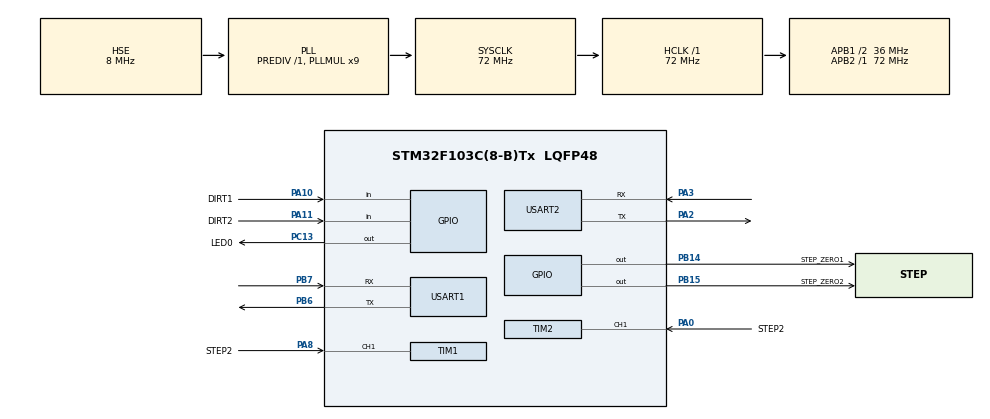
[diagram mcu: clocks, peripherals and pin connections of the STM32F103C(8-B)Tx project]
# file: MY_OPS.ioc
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FREERTOS.Tasks01=defaultTask,24,128,StartDefaultTask,Default,NULL,Dynamic,NULL,NULL
FREERTOS.configENABLE_FPU=1
Mcu.Family=STM32F1
Mcu.Name=STM32F103C(8-B)Tx
Mcu.Package=LQFP48
NVIC.PriorityGroup=NVIC_PRIORITYGROUP_4
NVIC.TIM4_IRQn=true\:15\:0\:false\:false\:true\:false\:false\:true\:true
NVIC.TimeBase=TIM4_IRQn
NVIC.TimeBaseIP=TIM4
PA0-WKUP.GPIO_Label=STEP2
PA0-WKUP.Signal=S_TIM2_CH1_ETR
PA10.GPIO_Label=DIRT1
PA10.Signal=GPIO_Input
PA11.GPIO_Label=DIRT2
PA11.Signal=GPIO_Input
PA13.Mode=Serial_Wire
PA13.Signal=SYS_JTMS-SWDIO
PA14.Mode=Serial_Wire
PA14.Signal=SYS_JTCK-SWCLK
PA2.Mode=Asynchronous
PA2.Signal=USART2_TX
PA3.Mode=Asynchronous
PA3.Signal=USART2_RX
PA8.GPIO_Label=STEP2
PA8.Signal=S_TIM1_CH1
PB14.GPIO_Label=STEP_ZERO1
PB14.Signal=GPIO_Output
PB15.GPIO_Label=STEP_ZERO2
PB15.Signal=GPIO_Output
PB6.Mode=Asynchronous
PB6.Signal=USART1_TX
PB7.Mode=Asynchronous
PB7.Signal=USART1_RX
PC13-TAMPER-RTC.GPIO_Label=LED0
PC13-TAMPER-RTC.Signal=GPIO_Output
PD0-OSC_IN.Mode=HSE-External-Oscillator
PD0-OSC_IN.Signal=RCC_OSC_IN
PD1-OSC_OUT.Mode=HSE-External-Oscillator
PD1-OSC_OUT.Signal=RCC_OSC_OUT
ProjectManager.HeapSize=0x200
ProjectManager.StackSize=0x400
ProjectManager.TargetToolchain=MDK-ARM V5.32
RCC.AHBFreq_Value=72000000
RCC.APB1CLKDivider=RCC_HCLK_DIV2
RCC.APB1Freq_Value=36000000
RCC.APB1TimFreq_Value=72000000
RCC.APB2Freq_Value=72000000
RCC.APB2TimFreq_Value=72000000
RCC.HCLKFreq_Value=72000000
RCC.PLLMUL=RCC_PLL_MUL9
RCC.PLLSourceVirtual=RCC_PLLSOURCE_HSE
RCC.SYSCLKFreq_VALUE=72000000
RCC.SYSCLKSource=RCC_SYSCLKSOURCE_PLLCLK
RCC.USBFreq_Value=72000000
SH.S_TIM1_CH1.0=TIM1_CH1,TriggerSource_TI1FP1
SH.S_TIM2_CH1_ETR.0=TIM2_CH1,TriggerSource_TI1FP1
USART1.VirtualMode=VM_ASYNC
USART2.VirtualMode=VM_ASYNC
VP_FREERTOS_VS_CMSIS_V2.Mode=CMSIS_V2
VP_SYS_VS_tim4.Mode=TIM4
VP_TIM1_VS_ControllerModeClock.Mode=Clock Mode
VP_TIM2_VS_ControllerModeClock.Mode=Clock Mode
board=custom

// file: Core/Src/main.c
/* USER CODE BEGIN Header */
/**
  ******************************************************************************
  * @file           : main.c
  * @brief          : Main program body
  ******************************************************************************
  * @attention
  *
  * Copyright (c) 2026 STMicroelectronics.
  * All rights reserved.
  *
  * This software is licensed under terms that can be found in the LICENSE file
  * in the root directory of this software component.
  * If no LICENSE file comes with this software, it is provided AS-IS.
  *
  ******************************************************************************
  */
/* USER CODE END Header */
#include "main.h"
#include "cmsis_os.h"
#include "tim.h"
#include "usart.h"
#include "gpio.h"

/* USER CODE BEGIN Includes */
#include "ops.h"
/* USER CODE END Includes */

void SystemClock_Config(void);
void MX_FREERTOS_Init(void);

int main(void)
{

  /* MCU Configuration--------------------------------------------------------*/

  /* Reset of all peripherals, Initializes the Flash interface and the Systick. */
  HAL_Init();

  /* Configure the system clock */
  SystemClock_Config();

  /* Initialize all configured peripherals */
  MX_GPIO_Init();
  MX_TIM1_Init();
  MX_TIM2_Init();
  MX_USART1_UART_Init();
  MX_USART2_UART_Init();
  /* USER CODE BEGIN 2 */
  /* 全局位姿模块初始化：
   *  1) 给 TIM1/TIM2 补上外部时钟模式 1 必需的 CC1S=01 输入通道并启动计数
   *  2) 启动 USART1(CY-Z)/USART2(底盘) 逐字节中断接收、配置 NVIC、使能 DWT
   *  3) 载入 Flash 参数 → 初始化各逻辑层 → 建立编码器基准 */
  Ops_Init();
  /* USER CODE END 2 */

  /* Init scheduler */
  osKernelInitialize();  /* Call init function for freertos objects (in cmsis_os2.c) */
  MX_FREERTOS_Init();

  /* Start scheduler */
  osKernelStart();

  /* We should never get here as control is now taken by the scheduler */

  /* Infinite loop */
  while (1)
  {

  }
}

void SystemClock_Config(void)
{
  RCC_OscInitTypeDef RCC_OscInitStruct = {0};
  RCC_ClkInitTypeDef RCC_ClkInitStruct = {0};

  /** Initializes the RCC Oscillators according to the specified parameters
  * in the RCC_OscInitTypeDef structure.
  */
  RCC_OscInitStruct.OscillatorType = RCC_OSCILLATORTYPE_HSE;
  RCC_OscInitStruct.HSEState = RCC_HSE_ON;
  RCC_OscInitStruct.HSEPredivValue = RCC_HSE_PREDIV_DIV1;
  RCC_OscInitStruct.HSIState = RCC_HSI_ON;
  RCC_OscInitStruct.PLL.PLLState = RCC_PLL_ON;
  RCC_OscInitStruct.PLL.PLLSource = RCC_PLLSOURCE_HSE;
  RCC_OscInitStruct.PLL.PLLMUL = RCC_PLL_MUL9;
  if (HAL_RCC_OscConfig(&RCC_OscInitStruct) != HAL_OK)
  {
    Error_Handler();
  }

  /** Initializes the CPU, AHB and APB buses clocks
  */
  RCC_ClkInitStruct.ClockType = RCC_CLOCKTYPE_HCLK|RCC_CLOCKTYPE_SYSCLK
                              |RCC_CLOCKTYPE_PCLK1|RCC_CLOCKTYPE_PCLK2;
  RCC_ClkInitStruct.SYSCLKSource = RCC_SYSCLKSOURCE_PLLCLK;
  RCC_ClkInitStruct.AHBCLKDivider = RCC_SYSCLK_DIV1;
  RCC_ClkInitStruct.APB1CLKDivider = RCC_HCLK_DIV2;
  RCC_ClkInitStruct.APB2CLKDivider = RCC_HCLK_DIV1;

  if (HAL_RCC_ClockConfig(&RCC_ClkInitStruct, FLASH_LATENCY_2) != HAL_OK)
  {
    Error_Handler();
  }
}

/* USER CODE BEGIN 4 */
/**
  * @brief  串口接收完成回调：USART1 = CY-Z 陀螺仪，USART2 = 底盘 MCU
  * @note   两路均为逐字节中断接收；发送与接收互不干扰，
  *         且本 HAL 版本的 HAL_UART_Transmit 不使用 __HAL_LOCK，
  *         因此发送过程中在接收中断里重新挂接接收不会失败。
  */
void HAL_UART_RxCpltCallback(UART_HandleTypeDef *huart)
{
  if (huart->Instance == USART1)
  {
    Ops_Hw_Uart1RxCpltFromIsr();
  }
  else if (huart->Instance == USART2)
  {
    Ops_Hw_Uart2RxCpltFromIsr();
  }
  else
  {
    /* 其他串口未使用 */
  }
}

/**
  * @brief  串口错误回调
  * @note   最常见的是过载错误 ORE；必须重新挂接接收，否则该路接收永久停止。
  */
void HAL_UART_ErrorCallback(UART_HandleTypeDef *huart)
{
  if (huart->Instance == USART1)
  {
    Ops_Hw_UartErrorFromIsr(0u);
  }
  else if (huart->Instance == USART2)
  {
    Ops_Hw_UartErrorFromIsr(1u);
  }
  else
  {
    /* 其他串口未使用 */
  }
}
/* USER CODE END 4 */

void HAL_TIM_PeriodElapsedCallback(TIM_HandleTypeDef *htim)
{
  if (htim->Instance == TIM4)
  {
    HAL_IncTick();
  }
}

void Error_Handler(void)
{
  __disable_irq();
  while (1)
  {
  }
}

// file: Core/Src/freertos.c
/* USER CODE BEGIN Header */
/**
  ******************************************************************************
  * File Name          : freertos.c
  * Description        : Code for freertos applications
  ******************************************************************************
  * @attention
  *
  * Copyright (c) 2026 STMicroelectronics.
  * All rights reserved.
  *
  * This software is licensed under terms that can be found in the LICENSE file
  * in the root directory of this software component.
  * If no LICENSE file comes with this software, it is provided AS-IS.
  *
  ******************************************************************************
  */
/* USER CODE END Header */

#include "FreeRTOS.h"
#include "task.h"
#include "main.h"
#include "cmsis_os.h"

/* USER CODE BEGIN Includes */
#include "ops.h"
/* USER CODE END Includes */

/* Definitions for defaultTask */
osThreadId_t defaultTaskHandle;
const osThreadAttr_t defaultTask_attributes = {
  .name = "defaultTask",
  .stack_size = 128 * 4,
  .priority = (osPriority_t) osPriorityNormal,
};

void StartDefaultTask(void *argument);

void MX_FREERTOS_Init(void); /* (MISRA C 2004 rule 8.1) */

void MX_FREERTOS_Init(void) {

  /* Create the thread(s) */
  /* creation of defaultTask */
  defaultTaskHandle = osThreadNew(StartDefaultTask, NULL, &defaultTask_attributes);

  /* USER CODE BEGIN RTOS_THREADS */
  /* 创建 opsSample / opsLink / opsCyz 三个业务任务 */
  Ops_Tasks_Init();
  /* USER CODE END RTOS_THREADS */

}

void StartDefaultTask(void *argument)
{
  for(;;)
  {
    osDelay(1);
  }
}
